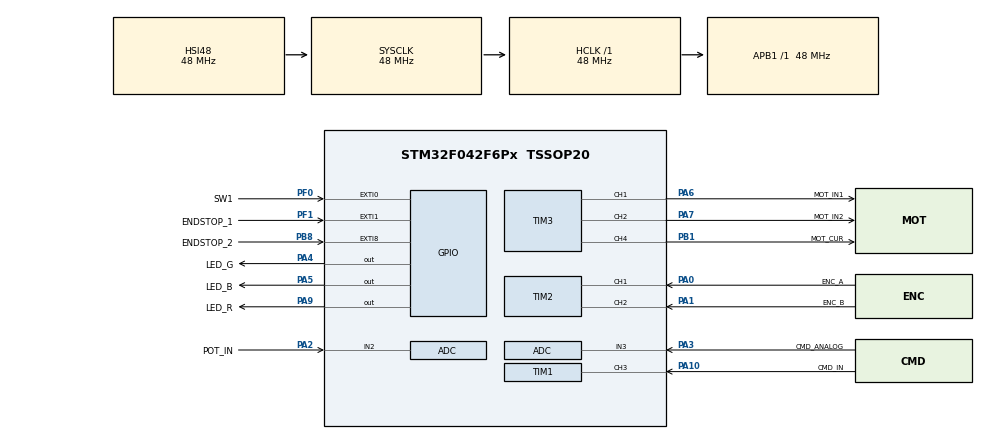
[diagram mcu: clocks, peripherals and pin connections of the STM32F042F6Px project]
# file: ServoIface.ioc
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ADC.ClockPrescaler=ADC_CLOCK_SYNC_PCLK_DIV4
ADC.ContinuousConvMode=ENABLE
ADC.DMAContinuousRequests=ENABLE
ADC.Rank=ADC_RANK_CHANNEL_NUMBER
Dma.ADC.0.Direction=DMA_PERIPH_TO_MEMORY
Dma.ADC.0.Instance=DMA1_Channel1
Dma.ADC.0.MemDataAlignment=DMA_MDATAALIGN_BYTE
Dma.ADC.0.MemInc=DMA_MINC_DISABLE
Dma.ADC.0.Mode=DMA_NORMAL
Dma.ADC.0.PeriphDataAlignment=DMA_PDATAALIGN_BYTE
Dma.ADC.0.PeriphInc=DMA_PINC_DISABLE
Dma.ADC.0.Priority=DMA_PRIORITY_LOW
Dma.Request0=ADC
FREERTOS.BinarySemaphores01=selfTestSem
FREERTOS.INCLUDE_vTaskDelayUntil=1
FREERTOS.INCLUDE_xTaskAbortDelay=0
FREERTOS.INCLUDE_xTaskGetHandle=0
FREERTOS.MEMORY_ALLOCATION=0
FREERTOS.Tasks01=MotorCtrlTaskId,0,128,MotorCtrlTask;RGBLedTaskId,-2,128,RGBLedTask;AutoTestTaskId,-3,128,AutoTestTask
FREERTOS.configUSE_DAEMON_TASK_STARTUP_HOOK=0
FREERTOS.configUSE_TASK_NOTIFICATIONS=1
Mcu.Family=STM32F0
Mcu.Name=STM32F042F6Px
Mcu.Package=TSSOP20
NVIC.DMA1_Channel1_IRQn=true\:3\:0\:false\:false\:true\:true
NVIC.EXTI0_1_IRQn=true\:3\:0\:false\:false\:true\:true
NVIC.TIM14_IRQn=true\:0\:0\:false\:false\:true\:false
NVIC.TIM1_CC_IRQn=true\:3\:0\:false\:false\:true\:true
NVIC.TimeBase=TIM14_IRQn
NVIC.TimeBaseIP=TIM14
PA0.GPIO_Label=ENC_A
PA0.GPIO_ModeDefaultPP=GPIO_MODE_AF_PP
PA0.GPIO_PuPd=GPIO_PULLUP
PA0.GPIO_Speed=GPIO_SPEED_FREQ_LOW
PA0.Signal=S_TIM2_CH1_ETR
PA1.GPIO_Label=ENC_B
PA1.GPIO_ModeDefaultPP=GPIO_MODE_AF_PP
PA1.GPIO_PuPd=GPIO_PULLUP
PA1.GPIO_Speed=GPIO_SPEED_FREQ_LOW
PA1.Signal=S_TIM2_CH2
PA10.GPIO_FMA10=__NULL
PA10.GPIO_Label=CMD_IN
PA10.GPIO_ModeDefaultPP=GPIO_MODE_AF_PP
PA10.GPIO_PuPd=GPIO_NOPULL
PA10.GPIO_Speed=GPIO_SPEED_FREQ_LOW
PA10.Signal=S_TIM1_CH3
PA13.Mode=Serial_Wire
PA13.Signal=SYS_SWDIO
PA14.Mode=Serial_Wire
PA14.Signal=SYS_SWCLK
PA2.GPIO_Label=POT_IN
PA2.GPIO_Mode=GPIO_MODE_ANALOG
PA2.GPIO_PuPd=GPIO_NOPULL
PA2.Mode=IN2
PA2.Signal=ADC_IN2
PA3.GPIO_Label=CMD_ANALOG
PA3.GPIO_Mode=GPIO_MODE_ANALOG
PA3.GPIO_PuPd=GPIO_NOPULL
PA3.Mode=IN3
PA3.Signal=ADC_IN3
PA4.GPIO_Label=LED_G
PA4.GPIO_ModeDefaultOutputPP=GPIO_MODE_OUTPUT_PP
PA4.GPIO_PuPd=GPIO_NOPULL
PA4.GPIO_Speed=GPIO_SPEED_FREQ_LOW
PA4.Signal=GPIO_Output
PA5.GPIO_Label=LED_B
PA5.GPIO_ModeDefaultOutputPP=GPIO_MODE_OUTPUT_PP
PA5.GPIO_PuPd=GPIO_NOPULL
PA5.GPIO_Speed=GPIO_SPEED_FREQ_LOW
PA5.Signal=GPIO_Output
PA6.GPIO_Label=MOT_IN1
PA6.GPIO_ModeDefaultPP=GPIO_MODE_AF_PP
PA6.GPIO_PuPd=GPIO_NOPULL
PA6.GPIO_Speed=GPIO_SPEED_FREQ_LOW
PA6.Signal=S_TIM3_CH1
PA7.GPIO_Label=MOT_IN2
PA7.GPIO_ModeDefaultPP=GPIO_MODE_AF_PP
PA7.GPIO_PuPd=GPIO_NOPULL
PA7.GPIO_Speed=GPIO_SPEED_FREQ_LOW
PA7.Signal=S_TIM3_CH2
PA9.GPIO_FMA9=__NULL
PA9.GPIO_Label=LED_R
PA9.GPIO_ModeDefaultOutputPP=GPIO_MODE_OUTPUT_PP
PA9.GPIO_PuPd=GPIO_NOPULL
PA9.GPIO_Speed=GPIO_SPEED_FREQ_LOW
PA9.Signal=GPIO_Output
PB1.GPIO_Label=MOT_CUR
PB1.GPIO_ModeDefaultPP=GPIO_MODE_AF_PP
PB1.GPIO_PuPd=GPIO_NOPULL
PB1.GPIO_Speed=GPIO_SPEED_FREQ_LOW
PB1.Signal=S_TIM3_CH4
PB8.GPIO_Label=ENDSTOP_2
PB8.GPIO_PuPd=GPIO_PULLUP
PB8.Signal=GPXTI8
PF0-OSC_IN.GPIO_Label=SW1
PF0-OSC_IN.GPIO_ModeDefaultEXTI=GPIO_MODE_IT_FALLING
PF0-OSC_IN.GPIO_PuPd=GPIO_PULLUP
PF0-OSC_IN.Signal=GPXTI0
PF1-OSC_OUT.GPIO_Label=ENDSTOP_1
PF1-OSC_OUT.GPIO_ModeDefaultEXTI=GPIO_MODE_IT_RISING_FALLING
PF1-OSC_OUT.GPIO_PuPd=GPIO_PULLUP
PF1-OSC_OUT.Signal=GPXTI1
ProjectManager.HeapSize=0x200
ProjectManager.StackSize=0x400
ProjectManager.TargetToolchain=TrueSTUDIO
RCC.AHBFreq_Value=48000000
RCC.APB1Freq_Value=48000000
RCC.APB1TimFreq_Value=48000000
RCC.CECEnable=false
RCC.ClockTypeHCLK=RCC_CLOCKTYPE_HCLK
RCC.ClockTypePCLK1=RCC_CLOCKTYPE_PCLK1
RCC.DATA_CACHE_ENABLE=0
RCC.EnableHSE=false
RCC.EnableHSERTCDevisor=false
RCC.EnableLSE=false
RCC.EnableLSERTC=false
RCC.EnableMCOMultDivisor=false
RCC.HCLKFreq_Value=48000000
RCC.HSEState=RCC_HSE_OFF
RCC.HSI14State=RCC_HSI14_OFF
RCC.HSI48State=RCC_HSI48_ON
RCC.I2C1Enable=false
RCC.INSTRUCTION_CACHE_ENABLE=0
RCC.IWDGEnable=false
RCC.LSIState=RCC_LSI_OFF
RCC.MCOEnable=false
RCC.OscillatorTypeHSI48=RCC_OSCILLATORTYPE_HSI48
RCC.PLLSource=RCC_PLLSOURCE_HSI
RCC.PLLSourceVirtual=RCC_PLLSOURCE_HSI
RCC.PLLState=RCC_PLL_OFF
RCC.RTCEnable=false
RCC.SYSCLKFreq_VALUE=48000000
RCC.SYSCLKSource=RCC_SYSCLKSOURCE_HSI48
RCC.USART1Enable=false
RCC.USART2Enable=false
RCC.USBEnable=false
SH.S_TIM1_CH3.0=TIM1_CH3,Input_Capture3_from_TI3
SH.S_TIM2_CH1_ETR.0=TIM2_CH1,Encoder_Interface
SH.S_TIM2_CH2.0=TIM2_CH2,Encoder_Interface
SH.S_TIM3_CH1.0=TIM3_CH1,PWM Generation1 CH1
SH.S_TIM3_CH2.0=TIM3_CH2,PWM Generation2 CH2
SH.S_TIM3_CH4.0=TIM3_CH4,PWM Generation4 CH4
TIM1.Channel-Input_Capture3_from_TI3=TIM_CHANNEL_3
TIM1.ICPolarity_CH3=TIM_INPUTCHANNELPOLARITY_BOTHEDGE
TIM2.EncoderMode=TIM_ENCODERMODE_TI12
TIM2.IC1Polarity=TIM_ICPOLARITY_RISING
TIM2.IC2Polarity=TIM_ICPOLARITY_RISING
TIM3.Channel-PWM\ Generation1\ CH1=TIM_CHANNEL_1
TIM3.Channel-PWM\ Generation2\ CH2=TIM_CHANNEL_2
TIM3.Channel-PWM\ Generation4\ CH4=TIM_CHANNEL_4
TIM3.ClearInputSource=TIM_CLEARINPUTSOURCE_NONE
TIM3.ClearInputState=ENABLE
VP_FREERTOS_VS_ENABLE.Mode=Enabled
VP_SYS_VS_tim14.Mode=TIM14
VP_TIM1_VS_ClockSourceINT.Mode=Internal
board=ServoIface

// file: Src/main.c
/**
  ******************************************************************************
  * File Name          : main.c
  * Description        : Main program body
  ******************************************************************************
  *
  * Copyright (c) 2017 STMicroelectronics International N.V.
  * All rights reserved.
  *
  * Redistribution and use in source and binary forms, with or without
  * modification, are permitted, provided that the following conditions are met:
  *
  * 1. Redistribution of source code must retain the above copyright notice,
  *    this list of conditions and the following disclaimer.
  * 2. Redistributions in binary form must reproduce the above copyright notice,
  *    this list of conditions and the following disclaimer in the documentation
  *    and/or other materials provided with the distribution.
  * 3. Neither the name of STMicroelectronics nor the names of other
  *    contributors to this software may be used to endorse or promote products
  *    derived from this software without specific written permission.
  * 4. This software, including modifications and/or derivative works of this
  *    software, must execute solely and exclusively on microcontroller or
  *    microprocessor devices manufactured by or for STMicroelectronics.
  * 5. Redistribution and use of this software other than as permitted under
  *    this license is void and will automatically terminate your rights under
  *    this license.
  *
  * THIS SOFTWARE IS PROVIDED BY STMICROELECTRONICS AND CONTRIBUTORS "AS IS"
  * AND ANY EXPRESS, IMPLIED OR STATUTORY WARRANTIES, INCLUDING, BUT NOT
  * LIMITED TO, THE IMPLIED WARRANTIES OF MERCHANTABILITY, FITNESS FOR A
  * PARTICULAR PURPOSE AND NON-INFRINGEMENT OF THIRD PARTY INTELLECTUAL PROPERTY
  * RIGHTS ARE DISCLAIMED TO THE FULLEST EXTENT PERMITTED BY LAW. IN NO EVENT
  * SHALL STMICROELECTRONICS OR CONTRIBUTORS BE LIABLE FOR ANY DIRECT, INDIRECT,
  * INCIDENTAL, SPECIAL, EXEMPLARY, OR CONSEQUENTIAL DAMAGES (INCLUDING, BUT NOT
  * LIMITED TO, PROCUREMENT OF SUBSTITUTE GOODS OR SERVICES; LOSS OF USE, DATA,
  * OR PROFITS; OR BUSINESS INTERRUPTION) HOWEVER CAUSED AND ON ANY THEORY OF
  * LIABILITY, WHETHER IN CONTRACT, STRICT LIABILITY, OR TORT (INCLUDING
  * NEGLIGENCE OR OTHERWISE) ARISING IN ANY WAY OUT OF THE USE OF THIS SOFTWARE,
  * EVEN IF ADVISED OF THE POSSIBILITY OF SUCH DAMAGE.
  *
  ******************************************************************************
  */
#include "main.h"
#include "stm32f0xx_hal.h"
#include "cmsis_os.h"
#include "pid.h"
#include "ServoIface.h"

ADC_HandleTypeDef hadc;
DMA_HandleTypeDef hdma_adc;

TIM_HandleTypeDef htim1;
TIM_HandleTypeDef htim2;
TIM_HandleTypeDef htim3;

osThreadId MotorCtrlTaskIdHandle;
osThreadId RGBLedTaskIdHandle;
osThreadId AutoTestTaskIdHandle;
osSemaphoreId selfTestSemHandle;

/* USER CODE BEGIN PV */
/* Private variables ---------------------------------------------------------*/
//int zero_is_found = 0;
int speed_done = 0;
int slow_done = 0;
uint32_t debug_var = 0;
PID_process_t *pPID;
volatile uint32_t pwm=0;

/* USER CODE END PV */

void SystemClock_Config(void);
void Error_Handler(void);
static void MX_GPIO_Init(void);
static void MX_DMA_Init(void);
static void MX_ADC_Init(void);
static void MX_TIM1_Init(void);
static void MX_TIM2_Init(void);
static void MX_TIM3_Init(void);
void MotorCtrlTask(void const * argument);
void RGBLedTask(void const * argument);
void AutoTestTask(void const * argument);

void HAL_TIM_MspPostInit(TIM_HandleTypeDef *htim);

/* USER CODE BEGIN PFP */
/* Private function prototypes -----------------------------------------------*/

/* USER CODE END PFP */

int main(void)
{

  /* MCU Configuration----------------------------------------------------------*/

  /* Reset of all peripherals, Initializes the Flash interface and the Systick. */
  HAL_Init();

  /* Configure the system clock */
  SystemClock_Config();

  /* Initialize all configured peripherals */
  MX_GPIO_Init();
  MX_DMA_Init();
  MX_ADC_Init();
  MX_TIM1_Init();
  MX_TIM2_Init();
  MX_TIM3_Init();

  /* USER CODE BEGIN 2 */

  HAL_TIM_PWM_Start(&htim3, TIM_CHANNEL_1);
  HAL_TIM_PWM_Start(&htim3, TIM_CHANNEL_2);

  HAL_TIM_Encoder_Start(&htim2,TIM_CHANNEL_1|TIM_CHANNEL_2);

  HAL_TIM_IC_Start_IT(&htim1, TIM_CHANNEL_3);

  /*Init PID library*/
  pPID = pid_init(); //position PID
  PID_Set_Coefficient(pPID->PID,50,1,260,0); // KP, KI, KD, Ilimit
  PID_Set_limitation(pPID,1024,0);

  /* USER CODE END 2 */

  /* Create the semaphores(s) */
  /* definition and creation of selfTestSem */
  osSemaphoreDef(selfTestSem);
  selfTestSemHandle = osSemaphoreCreate(osSemaphore(selfTestSem), 1);

  /* Create the thread(s) */
  /* definition and creation of MotorCtrlTaskId */
  osThreadDef(MotorCtrlTaskId, MotorCtrlTask, osPriorityNormal, 0, 128);
  MotorCtrlTaskIdHandle = osThreadCreate(osThread(MotorCtrlTaskId), NULL);

  /* definition and creation of RGBLedTaskId */
  osThreadDef(RGBLedTaskId, RGBLedTask, osPriorityNormal, 0, 128);
  RGBLedTaskIdHandle = osThreadCreate(osThread(RGBLedTaskId), NULL);

  /* definition and creation of AutoTestTaskId */
  osThreadDef(AutoTestTaskId, AutoTestTask, osPriorityIdle, 0, 128);
  AutoTestTaskIdHandle = osThreadCreate(osThread(AutoTestTaskId), NULL);

  /* Start scheduler */
  osKernelStart();

  /* We should never get here as control is now taken by the scheduler */

  /* Infinite loop */
  while (1)
  {

  }

}

/** System Clock Configuration
*/
void SystemClock_Config(void)
{

  RCC_OscInitTypeDef RCC_OscInitStruct;
  RCC_ClkInitTypeDef RCC_ClkInitStruct;

    /**Initializes the CPU, AHB and APB busses clocks
    */
  RCC_OscInitStruct.OscillatorType = RCC_OSCILLATORTYPE_HSI48;
  RCC_OscInitStruct.HSI48State = RCC_HSI48_ON;
  RCC_OscInitStruct.PLL.PLLState = RCC_PLL_NONE;
  if (HAL_RCC_OscConfig(&RCC_OscInitStruct) != HAL_OK)
  {
    Error_Handler();
  }

    /**Initializes the CPU, AHB and APB busses clocks
    */
  RCC_ClkInitStruct.ClockType = RCC_CLOCKTYPE_HCLK|RCC_CLOCKTYPE_SYSCLK
                              |RCC_CLOCKTYPE_PCLK1;
  RCC_ClkInitStruct.SYSCLKSource = RCC_SYSCLKSOURCE_HSI48;
  RCC_ClkInitStruct.AHBCLKDivider = RCC_SYSCLK_DIV1;
  RCC_ClkInitStruct.APB1CLKDivider = RCC_HCLK_DIV1;

  if (HAL_RCC_ClockConfig(&RCC_ClkInitStruct, FLASH_LATENCY_1) != HAL_OK)
  {
    Error_Handler();
  }

    /**Configure the Systick interrupt time
    */
  HAL_SYSTICK_Config(HAL_RCC_GetHCLKFreq()/1000);

    /**Configure the Systick
    */
  HAL_SYSTICK_CLKSourceConfig(SYSTICK_CLKSOURCE_HCLK);

  /* SysTick_IRQn interrupt configuration */
  HAL_NVIC_SetPriority(SysTick_IRQn, 3, 0);
}

/* ADC init function */
static void MX_ADC_Init(void)
{

  ADC_ChannelConfTypeDef sConfig;

    /**Configure the global features of the ADC (Clock, Resolution, Data Alignment and number of conversion)
    */
  hadc.Instance = ADC1;
  hadc.Init.ClockPrescaler = ADC_CLOCK_SYNC_PCLK_DIV4;
  hadc.Init.Resolution = ADC_RESOLUTION_12B;
  hadc.Init.DataAlign = ADC_DATAALIGN_RIGHT;
  hadc.Init.ScanConvMode = ADC_SCAN_DIRECTION_FORWARD;
  hadc.Init.EOCSelection = ADC_EOC_SINGLE_CONV;
  hadc.Init.LowPowerAutoWait = DISABLE;
  hadc.Init.LowPowerAutoPowerOff = DISABLE;
  hadc.Init.ContinuousConvMode = ENABLE;
  hadc.Init.DiscontinuousConvMode = DISABLE;
  hadc.Init.ExternalTrigConv = ADC_SOFTWARE_START;
  hadc.Init.ExternalTrigConvEdge = ADC_EXTERNALTRIGCONVEDGE_NONE;
  hadc.Init.DMAContinuousRequests = ENABLE;
  hadc.Init.Overrun = ADC_OVR_DATA_PRESERVED;
  if (HAL_ADC_Init(&hadc) != HAL_OK)
  {
    Error_Handler();
  }

    /**Configure for the selected ADC regular channel to be converted.
    */
  sConfig.Channel = ADC_CHANNEL_2;
  sConfig.Rank = ADC_RANK_CHANNEL_NUMBER;
  sConfig.SamplingTime = ADC_SAMPLETIME_1CYCLE_5;
  if (HAL_ADC_ConfigChannel(&hadc, &sConfig) != HAL_OK)
  {
    Error_Handler();
  }

    /**Configure for the selected ADC regular channel to be converted.
    */
  sConfig.Channel = ADC_CHANNEL_3;
  if (HAL_ADC_ConfigChannel(&hadc, &sConfig) != HAL_OK)
  {
    Error_Handler();
  }

}

/* TIM1 init function */
static void MX_TIM1_Init(void)
{

  TIM_ClockConfigTypeDef sClockSourceConfig;
  TIM_MasterConfigTypeDef sMasterConfig;
  TIM_IC_InitTypeDef sConfigIC;

  htim1.Instance = TIM1;
  htim1.Init.Prescaler = 0;
  htim1.Init.CounterMode = TIM_COUNTERMODE_UP;
  htim1.Init.Period = 65535;
  htim1.Init.ClockDivision = TIM_CLOCKDIVISION_DIV1;
  htim1.Init.RepetitionCounter = 0;
  htim1.Init.AutoReloadPreload = TIM_AUTORELOAD_PRELOAD_DISABLE;
  if (HAL_TIM_Base_Init(&htim1) != HAL_OK)
  {
    Error_Handler();
  }

  sClockSourceConfig.ClockSource = TIM_CLOCKSOURCE_INTERNAL;
  if (HAL_TIM_ConfigClockSource(&htim1, &sClockSourceConfig) != HAL_OK)
  {
    Error_Handler();
  }

  if (HAL_TIM_IC_Init(&htim1) != HAL_OK)
  {
    Error_Handler();
  }

  sMasterConfig.MasterOutputTrigger = TIM_TRGO_RESET;
  sMasterConfig.MasterSlaveMode = TIM_MASTERSLAVEMODE_DISABLE;
  if (HAL_TIMEx_MasterConfigSynchronization(&htim1, &sMasterConfig) != HAL_OK)
  {
    Error_Handler();
  }

  sConfigIC.ICPolarity = TIM_INPUTCHANNELPOLARITY_BOTHEDGE;
  sConfigIC.ICSelection = TIM_ICSELECTION_DIRECTTI;
  sConfigIC.ICPrescaler = TIM_ICPSC_DIV1;
  sConfigIC.ICFilter = 0;
  if (HAL_TIM_IC_ConfigChannel(&htim1, &sConfigIC, TIM_CHANNEL_3) != HAL_OK)
  {
    Error_Handler();
  }

}

/* TIM2 init function */
static void MX_TIM2_Init(void)
{

  TIM_Encoder_InitTypeDef sConfig;
  TIM_MasterConfigTypeDef sMasterConfig;

  htim2.Instance = TIM2;
  htim2.Init.Prescaler = 0;
  htim2.Init.CounterMode = TIM_COUNTERMODE_UP;
  htim2.Init.Period = 0xFFFFFFFF;//0;
  htim2.Init.ClockDivision = TIM_CLOCKDIVISION_DIV1;
  htim2.Init.AutoReloadPreload = TIM_AUTORELOAD_PRELOAD_DISABLE;
  sConfig.EncoderMode = TIM_ENCODERMODE_TI12;
  sConfig.IC1Polarity = TIM_ICPOLARITY_RISING;
  sConfig.IC1Selection = TIM_ICSELECTION_DIRECTTI;
  sConfig.IC1Prescaler = TIM_ICPSC_DIV1;
  sConfig.IC1Filter = 0;
  sConfig.IC2Polarity = TIM_ICPOLARITY_RISING;
  sConfig.IC2Selection = TIM_ICSELECTION_DIRECTTI;
  sConfig.IC2Prescaler = TIM_ICPSC_DIV1;
  sConfig.IC2Filter = 0;
  if (HAL_TIM_Encoder_Init(&htim2, &sConfig) != HAL_OK)
  {
    Error_Handler();
  }

  sMasterConfig.MasterOutputTrigger = TIM_TRGO_RESET;
  sMasterConfig.MasterSlaveMode = TIM_MASTERSLAVEMODE_DISABLE;
  if (HAL_TIMEx_MasterConfigSynchronization(&htim2, &sMasterConfig) != HAL_OK)
  {
    Error_Handler();
  }

}

/* TIM3 init function */
static void MX_TIM3_Init(void)
{

  TIM_MasterConfigTypeDef sMasterConfig;
  TIM_OC_InitTypeDef sConfigOC;

  htim3.Instance = TIM3;
  htim3.Init.Prescaler = (uint16_t) (SystemCoreClock / 21000000) - 1;//0;
  htim3.Init.CounterMode = TIM_COUNTERMODE_UP;
  htim3.Init.Period = 1024;
  htim3.Init.ClockDivision = TIM_CLOCKDIVISION_DIV1;
  htim3.Init.AutoReloadPreload = TIM_AUTORELOAD_PRELOAD_DISABLE;
  if (HAL_TIM_PWM_Init(&htim3) != HAL_OK)
  {
    Error_Handler();
  }

  sMasterConfig.MasterOutputTrigger = TIM_TRGO_RESET;
  sMasterConfig.MasterSlaveMode = TIM_MASTERSLAVEMODE_DISABLE;
  if (HAL_TIMEx_MasterConfigSynchronization(&htim3, &sMasterConfig) != HAL_OK)
  {
    Error_Handler();
  }

  sConfigOC.OCMode = TIM_OCMODE_PWM1;
  sConfigOC.Pulse = 512;
  sConfigOC.OCPolarity = TIM_OCPOLARITY_HIGH;
  sConfigOC.OCFastMode = TIM_OCFAST_DISABLE;
  if (HAL_TIM_PWM_ConfigChannel(&htim3, &sConfigOC, TIM_CHANNEL_1) != HAL_OK)
  {
    Error_Handler();
  }

  if (HAL_TIM_PWM_ConfigChannel(&htim3, &sConfigOC, TIM_CHANNEL_2) != HAL_OK)
  {
    Error_Handler();
  }

  if (HAL_TIM_PWM_ConfigChannel(&htim3, &sConfigOC, TIM_CHANNEL_4) != HAL_OK)
  {
    Error_Handler();
  }

  HAL_TIM_MspPostInit(&htim3);

}

static void MX_DMA_Init(void)
{
  /* DMA controller clock enable */
  __HAL_RCC_DMA1_CLK_ENABLE();

  /* DMA interrupt init */
  /* DMA1_Channel1_IRQn interrupt configuration */
  HAL_NVIC_SetPriority(DMA1_Channel1_IRQn, 3, 0);
  HAL_NVIC_EnableIRQ(DMA1_Channel1_IRQn);

}

/** Configure pins as
        * Analog
        * Input
        * Output
        * EVENT_OUT
        * EXTI
*/
static void MX_GPIO_Init(void)
{

  GPIO_InitTypeDef GPIO_InitStruct;

  /* GPIO Ports Clock Enable */
  __HAL_RCC_GPIOA_CLK_ENABLE();
  __HAL_RCC_GPIOB_CLK_ENABLE();
  __HAL_RCC_GPIOF_CLK_ENABLE();

  /*Configure GPIO pin Output Level */
  HAL_GPIO_WritePin(GPIOA, LED_G_Pin|LED_B_Pin|LED_R_Pin, GPIO_PIN_RESET);

  /*Configure GPIO pin : ENDSTOP_2_Pin */
  GPIO_InitStruct.Pin = ENDSTOP_2_Pin;
  GPIO_InitStruct.Mode = GPIO_MODE_INPUT; // GPIO_MODE_IT_RISING;
  GPIO_InitStruct.Pull = GPIO_PULLDOWN;
  HAL_GPIO_Init(ENDSTOP_2_GPIO_Port, &GPIO_InitStruct);

  /*Configure GPIO pin : CMD_IN_Pin */
  GPIO_InitStruct.Pin = CMD_IN_Pin;
  GPIO_InitStruct.Mode = GPIO_MODE_INPUT;
  GPIO_InitStruct.Pull = GPIO_PULLDOWN;
  HAL_GPIO_Init(CMD_IN_GPIO_Port, &GPIO_InitStruct);

  /*Configure GPIO pin : SW1_Pin */
  GPIO_InitStruct.Pin = SW1_Pin;
  GPIO_InitStruct.Mode = GPIO_MODE_IT_FALLING;
  GPIO_InitStruct.Pull = GPIO_PULLUP;
  HAL_GPIO_Init(SW1_GPIO_Port, &GPIO_InitStruct);

  /*Configure GPIO pin : ENDSTOP_1_Pin */
  GPIO_InitStruct.Pin = ENDSTOP_1_Pin;
  GPIO_InitStruct.Mode = GPIO_MODE_IT_RISING_FALLING;
  GPIO_InitStruct.Pull = GPIO_NOPULL;
  HAL_GPIO_Init(ENDSTOP_1_GPIO_Port, &GPIO_InitStruct);

  /*Configure GPIO pins : LED_G_Pin LED_B_Pin LED_R_Pin */
  GPIO_InitStruct.Pin = LED_G_Pin|LED_B_Pin|LED_R_Pin;
  GPIO_InitStruct.Mode = GPIO_MODE_OUTPUT_PP;
  GPIO_InitStruct.Pull = GPIO_NOPULL;
  GPIO_InitStruct.Speed = GPIO_SPEED_FREQ_LOW;
  HAL_GPIO_Init(GPIOA, &GPIO_InitStruct);

  /* EXTI interrupt init*/
  HAL_NVIC_SetPriority(EXTI0_1_IRQn, 3, 0);
  HAL_NVIC_EnableIRQ(EXTI0_1_IRQn);

}

/* USER CODE BEGIN 4 */
/**
  * @brief Hardware function for setting the motor speed.
  * @param speed: the new motor speed. If positive the motor will move forward, if negative it will move backward.
  */
void HwSetMotorSpeed(int speed) {
	if(speed > 0) {
		TIM3->CCR1 = 0;
		TIM3->CCR2 = speed;
	} else if (speed < 0) {
		TIM3->CCR1 = speed * -1;
		TIM3->CCR2 = 0;
	} else {
		TIM3->CCR1 = 0;
		TIM3->CCR2 = 0;
	}
}

/**
  * @brief Hardware function for getting the current motor position. Unit = ticks as read by the encoder.
  */
int32_t HwGetCurrentPosition() {
	int32_t output = 0;

	output = TIM2->CNT;

	return output;
}

uint8_t HwGetCommand(void)
{
  return (((HAL_GPIO_ReadPin(CMD_IN_GPIO_Port,    CMD_IN_Pin)    == GPIO_PIN_SET?1:0) << 1U) |
          ((HAL_GPIO_ReadPin(ENDSTOP_2_GPIO_Port, ENDSTOP_2_Pin) == GPIO_PIN_SET?1:0) << 0U));
}

/**
  * @brief Hardware function called when the goal is reached.
  */
void HwGoalIsReached() {
	//TODO: code for SPI feedback when goal is reached

}

/**
  * @brief Hardware function called when the goal is set.
  */
void HwGoalIsActive() {
	//TODO: code for SPI feedback when goal is set

}
/* USER CODE END 4 */

/* MotorCtrlTask function */
void MotorCtrlTask(void const * argument)
{
	/* USER CODE BEGIN 5 */

	uint8_t command ;
	uint8_t prev_command;
	bool initialized = false; // prevent over-run if not init

	LED_RED;

	set_hw_set_motor_speed(HwSetMotorSpeed);
	set_hw_get_current_position(HwGetCurrentPosition);
	set_hw_goal_is_active(HwGoalIsActive);
	set_hw_goal_is_reached(HwGoalIsReached);

	SetMotorSpeed(0);

	command = CMD_INIT;
	prev_command = CMD_WAIT;

	/* Infinite loop */
	for(;;)
	{

	command = HwGetCommand();

	// Take action only on command changes
	if(prev_command != command)
	{
	  switch(command)
	  {

		// Init
		case CMD_INIT:
			LED_YELLOW;
			CheckForZero();
			while(ZeroIsFound() == 0); /*wait for sensor trigger*/
			initialized = true;
			LED_RED;
			PID_Set_Cur_Position(pPID,POS_RESET); /*Reset current PID position*/
			TIM2->CNT=POS_RESET; /*Reset Timer used for encoder*/
			PID_Set_Ref_Position(pPID,POS_RESET);
			LED_GREEN;
			break;
		case CMD_SHOOT_HIGH:
			LED_CYAN;
			PID_Set_limitation(pPID,SPEED_FAST,0);
			PID_Set_Ref_Position(pPID,POS_ONE_TURN);
			break;
		case CMD_SHOOT_LOW:
			LED_MAGENTA;
			PID_Set_limitation(pPID,SPEED_SLOW,0);
			PID_Set_Ref_Position(pPID,POS_ONE_TURN);
			break;
		case CMD_WAIT:
		default:
			LED_BLUE;
			break;
	  }
	} // if (command change)
	prev_command = command;
	// Delay in ms
	osDelay(10);
	}

	/* USER CODE END 5 */
}

/* RGBLedTask function */
void RGBLedTask(void const * argument)
{
  GPIO_PinState LED_R_Pin_state;
  GPIO_PinState LED_G_Pin_state;
  GPIO_PinState LED_B_Pin_state;
  /* USER CODE BEGIN RGBLedTask */
  /* Infinite loop */
  /*Just toggle LEDs*/
  for(;;)
  {
	/*Save LEDs state*/
	LED_R_Pin_state = HAL_GPIO_ReadPin(GPIOA,LED_R_Pin);
	LED_G_Pin_state = HAL_GPIO_ReadPin(GPIOA,LED_G_Pin);
	LED_B_Pin_state = HAL_GPIO_ReadPin(GPIOA,LED_B_Pin);
	/*Shutdown all LEDs*/
//	LED_OFF;
    osDelay(200);
    /*Apply old state*/
//    HAL_GPIO_WritePin(GPIOA, LED_R_Pin, LED_R_Pin_state);
//    HAL_GPIO_WritePin(GPIOA, LED_G_Pin, LED_G_Pin_state);
//    HAL_GPIO_WritePin(GPIOA, LED_B_Pin, LED_B_Pin_state);
    osDelay(200);

    pwm = __HAL_TIM_GET_COMPARE(&htim1, TIM_CHANNEL_3);//XXX
  }
  /* USER CODE END RGBLedTask */
}

/* AutoTestTask function */
void AutoTestTask(void const * argument)
{
	uint32_t PreviousWakeTime = osKernelSysTick();
	int32_t i32CurPos=0;
	/* USER CODE BEGIN PIDTask */
	/* Infinite loop */
	for(;;)
	{
		/*Ensure constant time base*/
		osDelayUntil(&PreviousWakeTime,10);
		i32CurPos = GetCurrentPosition();
		PID_Process_Position(pPID, NULL, i32CurPos);

	}
	/* USER CODE END PIDTask */
}

void HAL_TIM_PeriodElapsedCallback(TIM_HandleTypeDef *htim)
{
  if (htim->Instance == TIM14) {
    HAL_IncTick();
  }
}

void HAL_GPIO_EXTI_Callback(uint16_t GPIO_Pin)
{
	/* NOTE: This function should not be modified, when the callback is needed,
	  the HAL_GPIO_EXTI_Callback could be implemented in the user file
	*/
	if(ENDSTOP_1_Pin == GPIO_Pin) {
		if(HAL_GPIO_ReadPin(ENDSTOP_1_GPIO_Port, ENDSTOP_1_Pin) == 0) {
			ZeroTriggered();

		}
	}
}

void Error_Handler(void)
{
  /* USER CODE BEGIN Error_Handler */
  /* User can add his own implementation to report the HAL error return state */
  while(1)
  {
    LED_RED;
  }
  /* USER CODE END Error_Handler */
}

/************************ (C) COPYRIGHT STMicroelectronics *****END OF FILE****/
